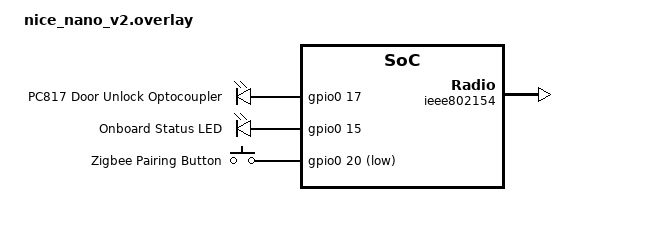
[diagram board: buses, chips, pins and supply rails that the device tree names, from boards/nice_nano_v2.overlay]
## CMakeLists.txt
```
# ==============================================================================
# MyHome Zigbee 门锁光耦开锁器固件 (Pro Micro nRF52840 + PC817)
# 适用环境: VS Code + nRF Connect SDK (Zephyr RTOS v2.5.x / v2.6.x / v2.7.x+)
# ==============================================================================
cmake_minimum_required(VERSION 3.20.0)

find_package(Zephyr REQUIRED HINTS $ENV{ZEPHYR_BASE})
project(myhome_zigbee_lock_nrf52840 LANGUAGES C)

target_include_directories(app PRIVATE include)

target_sources(app PRIVATE
    src/main.c
)
```

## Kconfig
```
# ==============================================================================
# MyHome Zigbee 门锁固件自定义配置项 (Kconfig)
# ==============================================================================
mainmenu "MyHome Zigbee Door Lock (Pro Micro nRF52840 + PC817)"

menu "MyHome Door Lock Hardware Settings"

config MYHOME_UNLOCK_PULSE_MS
	int "PC817 optocoupler unlock pulse duration (ms)"
	default 500
	range 100 3000
	help
	  Duration in milliseconds that the PC817 optocoupler stays active (HIGH)
	  to trigger the door lock button before automatically resetting to LOW.

config MYHOME_UNLOCK_COOLDOWN_MS
	int "Minimum cooldown interval between unlock triggers (ms)"
	default 3000
	range 500 30000
	help
	  Minimum cooldown period in milliseconds after an unlock pulse to prevent
	  duplicate Zigbee packet retries from re-triggering the door lock coil.

config MYHOME_ZED_SLEEP_POLL_MS
	int "Zigbee Sleepy End Device (ZED) parent poll interval (ms)"
	default 500
	range 100 5000
	help
	  How often the sleepy end device wakes up to poll its Zigbee parent for
	  pending unlock commands. 500ms balances sub-second unlock response and
	  ultra-low standby current.

endmenu

source "Kconfig.zephyr"
```

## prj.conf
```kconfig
# ==============================================================================
# Pro Micro nRF52840 (Nice!Nano v2) + PC817 Zigbee 门锁固件主配置 (prj.conf)
# 模式：Zigbee 休眠终端节点 (Sleepy End Device) + 1.5秒定时唤醒轮询 (1500ms)
# 续航：2 节 5 号优质电池可持续待机 2 年以上
# ==============================================================================

# 1. 基础内核与 GPIO 驱动
CONFIG_GPIO=y
CONFIG_SERIAL=n
CONFIG_CONSOLE=n
CONFIG_UART_CONSOLE=n
CONFIG_LOG=n

# 2. 低功耗与 Tickless 自动微安级休眠 (Tickless Idle)
CONFIG_PM=y
CONFIG_PM_DEVICE=y
CONFIG_TICKLESS_KERNEL=y
CONFIG_SYSTEM_CLOCK_SLOPPY_IDLE=y

# 3. 固件构建直接生成 UF2 文件 (支持免工具拖拽至 U 盘烧录)
CONFIG_BUILD_OUTPUT_UF2=y
CONFIG_BUILD_OUTPUT_HEX=y
CONFIG_BUILD_OUTPUT_BIN=y

# 4. Zigbee 协议栈 (nRF Connect SDK ZBOSS 协议栈)
CONFIG_ZIGBEE=y
CONFIG_ZIGBEE_APP_UTILS=y
CONFIG_ZIGBEE_ROLE_END_DEVICE=y
CONFIG_ZIGBEE_CHANNEL_SELECTION_MODE_MULTI=y

# 5. 网络加密与 NVRAM 断电配网持久化记忆 (Settings + Flash)
CONFIG_FLASH=y
CONFIG_FLASH_PAGE_LAYOUT=y
CONFIG_FLASH_MAP=y
CONFIG_NVS=y
CONFIG_SETTINGS=y
CONFIG_ZIGBEE_USE_SOFTWARE_AES=y
CONFIG_CRYPTO=y
CONFIG_CRYPTO_NRF_ECB=y

# 6. 线程栈与系统工作队列
CONFIG_MAIN_STACK_SIZE=2048
CONFIG_SYSTEM_WORKQUEUE_STACK_SIZE=2048
CONFIG_HEAP_MEM_POOL_SIZE=4096

# 7. 门锁硬件点动脉冲与 1.5 秒休眠轮询参数
CONFIG_MYHOME_UNLOCK_PULSE_MS=300
CONFIG_MYHOME_UNLOCK_COOLDOWN_MS=2000
CONFIG_MYHOME_ZED_SLEEP_POLL_MS=1500
```

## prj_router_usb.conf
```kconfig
# ==============================================================================
# 可选配置：USB 常电供电模式 (Zigbee Router 零延迟响应 + USB 串口调试日志)
# 使用方式：west build -b nice_nano_v2 -- -DCONF_FILE=prj_router_usb.conf
# ==============================================================================

CONFIG_GPIO=y
CONFIG_SERIAL=y
CONFIG_CONSOLE=y
CONFIG_UART_CONSOLE=y
CONFIG_USB_DEVICE_STACK=y
CONFIG_USB_CDC_ACM=y
CONFIG_LOG=y
CONFIG_LOG_DEFAULT_LEVEL=3

# UF2 烧录输出
CONFIG_BUILD_OUTPUT_UF2=y
CONFIG_BUILD_OUTPUT_HEX=y
CONFIG_BUILD_OUTPUT_BIN=y

# Zigbee Router 角色 (常开接收，开锁延迟 < 20ms，同时充当家里 Zigbee 信号中继)
CONFIG_ZIGBEE=y
CONFIG_ZIGBEE_APP_UTILS=y
CONFIG_ZIGBEE_ROLE_ROUTER=y
CONFIG_ZIGBEE_CHANNEL_SELECTION_MODE_MULTI=y

# Flash 与配网持久化
CONFIG_FLASH=y
CONFIG_FLASH_PAGE_LAYOUT=y
CONFIG_FLASH_MAP=y
CONFIG_NVS=y
CONFIG_SETTINGS=y
CONFIG_ZIGBEE_USE_SOFTWARE_AES=y
CONFIG_CRYPTO=y
CONFIG_CRYPTO_NRF_ECB=y

CONFIG_MAIN_STACK_SIZE=2048
CONFIG_SYSTEM_WORKQUEUE_STACK_SIZE=2048
CONFIG_HEAP_MEM_POOL_SIZE=4096

CONFIG_MYHOME_UNLOCK_PULSE_MS=500
CONFIG_MYHOME_UNLOCK_COOLDOWN_MS=3000
```

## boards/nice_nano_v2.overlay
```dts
/*
 * ==============================================================================
 * Pro Micro nRF52840 (Nice!Nano v2) 设备树引脚覆盖文件 (nice_nano_v2.overlay)
 * 硬件接线说明：
 *   - P0.17 (丝印 017 / D2) -> 串联 1kΩ 限流电阻 -> PC817 第 1 脚 (阳极 +)
 *   - GND                   -> PC817 第 2 脚 (阴极 -)
 *   - PC817 第 4 脚 (集电极) -> 智能门锁室内开门按钮正极 (平时测得 ~3.3V 的触点)
 *   - PC817 第 3 脚 (发射极) -> 智能门锁室内开门按钮负极 (平时测得 0V / GND 的触点)
 *   - P0.20 (丝印 020 / D3) -> 配网按键 (短接 GND 3秒清除配网并重新入网)
 *   - P0.15                 -> 板载状态指示灯
 * ==============================================================================
 */

/ {
	chosen {
		zephyr,ieee802154 = &ieee802154;
	};

	leds {
		compatible = "gpio-leds";

		/* PC817 光耦驱动引脚：输出高电平驱动 PC817 导通门锁按钮 */
		pc817_optocoupler: pc817_pin {
			gpios = <&gpio0 17 GPIO_ACTIVE_HIGH>;
			label = "PC817 Door Unlock Optocoupler";
		};

		/* 板载状态指示 LED */
		status_led: led_status {
			gpios = <&gpio0 15 GPIO_ACTIVE_HIGH>;
			label = "Onboard Status LED";
		};
	};

	buttons {
		compatible = "gpio-keys";

		/* 硬件配网引脚：P0.20 内部上拉，短接 GND 触发 */
		pair_button: button_pair {
			gpios = <&gpio0 20 (GPIO_PULL_UP | GPIO_ACTIVE_LOW)>;
			label = "Zigbee Pairing Button";
		};
	};

	aliases {
		optocoupler0 = &pc817_optocoupler;
		statusled0 = &status_led;
		pairbtn0 = &pair_button;
	};
};

&ieee802154 {
	status = "okay";
};

/* 适配 UF2 Bootloader (保留 0xF4000 分区) */
/delete-node/ &code_partition;
/delete-node/ &storage_partition;

&flash0 {
	partitions {
		compatible = "fixed-partitions";
		#address-cells = <1>;
		#size-cells = <1>;

		mbr_partition: partition@0 {
			label = "mbr";
			reg = <0x00000000 0x00001000>;
		};

		code_partition: partition@1000 {
			label = "image-0";
			reg = <0x00001000 0x000df000>;
		};

		zboss_nvram_partition: partition@e0000 {
			label = "zboss_nvram";
			reg = <0x000e0000 0x00008000>;
		};

		zboss_product_config_partition: partition@e8000 {
			label = "zboss_product_config";
			reg = <0x000e8000 0x00002000>;
		};

		storage_partition: partition@ea000 {
			label = "storage";
			reg = <0x000ea000 0x0000a000>;
		};

		boot_partition: partition@f4000 {
			label = "uf2_bootloader";
			reg = <0x000f4000 0x0000c000>;
			read-only;
		};
	};
};
```

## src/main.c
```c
/*
 * ==============================================================================
 * MyHome Zigbee 门锁光耦控制器主程序 (Pro Micro nRF52840 + PC817)
 * 核心特性：
 *   1. Zigbee 3.0 Sleepy End Device (ZED) 深度睡眠
 *   2. 1.5 秒定时轮询唤醒 (1500ms Data Request Poll)，2 节 5 号电池续航 >= 2 年
 *   3. 收到开锁指令后，PC817 导通 300ms 模拟按下室内开门按键，自动复位断开
 *   4. 支持短接 P0.20 到 GND 3 秒清除网络凭证重新配网
 * ==============================================================================
 */

#include <zephyr.h>
#include <device.h>
#include <drivers/gpio.h>
#include <settings/settings.h>

#include <zboss_api.h>
#include <zboss_api_addons.h>
#include <zigbee/zigbee_app_utils.h>
#include <zigbee/zigbee_error_handler.h>
#include <zb_nrf_platform.h>

#include "zb_door_lock.h"

#define OPT_NODE DT_ALIAS(optocoupler0)
#define LED_NODE DT_ALIAS(statusled0)
#define BTN_NODE DT_ALIAS(pairbtn0)

static const struct gpio_dt_spec optocoupler = GPIO_DT_SPEC_GET(OPT_NODE, gpios);
static const struct gpio_dt_spec status_led  = GPIO_DT_SPEC_GET_OR(LED_NODE, gpios, {0});
static const struct gpio_dt_spec pair_button = GPIO_DT_SPEC_GET_OR(BTN_NODE, gpios, {0});

/* 运行期上下文 */
static struct myhome_lock_ctx g_lock_ctx;
static struct k_work_delayable g_pulse_off_work;
static struct k_work_delayable g_cooldown_work;
static struct k_work_delayable g_pair_btn_work;
static bool g_in_cooldown = false;
static int64_t g_btn_press_time = 0;

/* ZCL 属性声明 (Basic Cluster) */
static zb_uint8_t  attr_zcl_version     = ZB_ZCL_VERSION;
static zb_uint8_t  attr_power_source     = ZB_ZCL_BASIC_POWER_SOURCE_BATTERY;
static zb_char_t   attr_mf_name[]        = {6, 'M', 'y', 'H', 'o', 'm', 'e'};
static zb_char_t   attr_model_id[]       = {12, 'Z', 'B', '-', 'D', 'o', 'o', 'r', 'L', 'o', 'c', 'k'};
static zb_char_t   attr_date_code[]      = {8, '2', '0', '2', '6', '1', '1', '1', '3'};
static zb_uint8_t  attr_app_version      = 1;

ZB_ZCL_DECLARE_BASIC_ATTRIB_LIST_EXT(
	basic_attr_list,
	&attr_zcl_version,
	&attr_app_version,
	&attr_power_source,
	attr_mf_name,
	attr_model_id,
	attr_date_code
);

/* ZCL 属性声明 (Identify Cluster) */
ZB_ZCL_DECLARE_IDENTIFY_ATTRIB_LIST(
	identify_attr_list,
	&g_lock_ctx.identify_time
);

/* ZCL 属性声明 (On/Off Cluster: 收到 ON 触发开锁) */
ZB_ZCL_DECLARE_ON_OFF_ATTRIB_LIST(
	on_off_attr_list,
	&g_lock_ctx.on_off_state
);

/* ZCL 属性声明 (Door Lock Cluster: 收到 Unlock 触发开锁) */
ZB_ZCL_START_DECLARE_ATTRIB_LIST(door_lock_attr_list)
	ZB_ZCL_SET_ATTR_DESC(ZB_ZCL_ATTR_DOOR_LOCK_LOCK_STATE_ID, (&g_lock_ctx.lock_state))
	ZB_ZCL_SET_ATTR_DESC(ZB_ZCL_ATTR_DOOR_LOCK_LOCK_TYPE_ID,  (&g_lock_ctx.lock_type))
ZB_ZCL_FINISH_DECLARE_ATTRIB_LIST;

/* Cluster 列表声明 */
ZB_HA_DECLARE_DOOR_LOCK_CLUSTER_LIST(
	door_lock_clusters,
	basic_attr_list,
	identify_attr_list,
	door_lock_attr_list
);

/* Endpoint 声明 */
ZB_HA_DECLARE_DOOR_LOCK_EP(
	door_lock_ep,
	MYHOME_LOCK_ENDPOINT,
	door_lock_clusters
);

/* Device Context 声明 */
ZB_HA_DECLARE_DOOR_LOCK_CTX(
	door_lock_ctx,
	door_lock_ep
);

/* ============================================================================
 * PC817 点动脉冲控制逻辑
 * ============================================================================ */

/* 脉冲到期回调：拉低引脚断开光耦，门锁按钮完成一次按压闭环 */
static void pulse_off_work_handler(struct k_work *work)
{
	ARG_UNUSED(work);
	gpio_pin_set_dt(&optocoupler, 0);
	if (status_led.port) {
		gpio_pin_set_dt(&status_led, 0);
	}

	/* 门锁状态自动回到上锁闭合态，保持状态干净 */
	g_lock_ctx.lock_state = ZCL_DOOR_LOCK_STATE_LOCKED;
	g_lock_ctx.on_off_state = ZB_ZCL_ON_OFF_IS_OFF;

	/* 开启 2 秒防重触发保护期 */
	g_in_cooldown = true;
	k_work_schedule(&g_cooldown_work, K_MSEC(CONFIG_MYHOME_UNLOCK_COOLDOWN_MS));
}

/* 冷却到期回调 */
static void cooldown_work_handler(struct k_work *work)
{
	ARG_UNUSED(work);
	g_in_cooldown = false;
}

/* 触发开锁物理动作 */
void myhome_trigger_unlock_pulse(void)
{
	if (g_in_cooldown) {
		return;
	}

	/* 1. 导通 PC817 光耦 (高电平) */
	gpio_pin_set_dt(&optocoupler, 1);
	if (status_led.port) {
		gpio_pin_set_dt(&status_led, 1);
	}

	g_lock_ctx.lock_state = ZCL_DOOR_LOCK_STATE_UNLOCKED;
	g_lock_ctx.on_off_state = ZB_ZCL_ON_OFF_IS_ON;

	/* 2. 启动 300ms 单次定时器，到期自动断开 */
	k_work_schedule(&g_pulse_off_work, K_MSEC(CONFIG_MYHOME_UNLOCK_PULSE_MS));
}

/* ============================================================================
 * Zigbee ZCL 指令回调拦截处理
 * ============================================================================ */

static zb_uint8_t zcl_specific_cluster_handler(zb_uint8_t param)
{
	zb_zcl_parsed_hdr_t *cmd_info = ZB_BUF_GET_PARAM(param, zb_zcl_parsed_hdr_t);

	if (cmd_info->cluster_id == ZB_ZCL_CLUSTER_ID_DOOR_LOCK) {
		/* Door Lock Cluster: 0x01 = Unlock Door 命令 */
		if (cmd_info->cmd_id == 0x01) {
			myhome_trigger_unlock_pulse();
			return ZB_TRUE;
		}
	} else if (cmd_info->cluster_id == ZB_ZCL_CLUSTER_ID_ON_OFF) {
		/* On/Off Cluster: 0x01 = On, 0x02 = Toggle 命令均触发开锁 */
		if (cmd_info->cmd_id == ZB_ZCL_CMD_ON_OFF_ON_ID ||
		    cmd_info->cmd_id == ZB_ZCL_CMD_ON_OFF_TOGGLE_ID) {
			myhome_trigger_unlock_pulse();
			return ZB_TRUE;
		}
	}
	return ZB_FALSE;
}

/* ZBOSS 协议栈信号处理 (网络入网、离开、认证状态机) */
void zboss_signal_handler(zb_uint8_t param)
{
	zb_zdo_app_signal_hdr_t *sg_p = NULL;
	zb_zdo_app_signal_type_t sig = zb_get_app_signal(param, &sg_p);
	zb_ret_t status = ZB_GET_APP_SIGNAL_STATUS(param);

	switch (sig) {
	case ZB_BDB_SIGNAL_DEVICE_FIRST_START:
	case ZB_BDB_SIGNAL_DEVICE_REBOOT:
		if (status == RET_OK) {
			/* 设备启动/重启成功，进入休眠轮询模式 */
			zb_set_rx_on_when_idle(ZB_FALSE);
			zb_zdo_pim_set_long_poll_interval(CONFIG_MYHOME_ZED_SLEEP_POLL_MS);
		} else {
			/* 尚未入网，启动 BDB 自动搜网入网 */
			bdb_start_top_level_commissioning(ZB_BDB_NETWORK_STEERING);
		}
		break;

	case ZB_BDB_SIGNAL_STEERING:
		if (status == RET_OK) {
			/* 成功加入 Zigbee 网络！设置 1.5 秒长轮询睡眠 */
			zb_set_rx_on_when_idle(ZB_FALSE);
			zb_zdo_pim_set_long_poll_interval(CONFIG_MYHOME_ZED_SLEEP_POLL_MS);
			if (status_led.port) {
				/* 入网成功：长亮 2 秒提示后熄灭进入省电 */
				gpio_pin_set_dt(&status_led, 1);
				k_msleep(2000);
				gpio_pin_set_dt(&status_led, 0);
			}
		} else {
			/* 搜网失败，10 秒后重试 */
			k_sleep(K_SECONDS(10));
			bdb_start_top_level_commissioning(ZB_BDB_NETWORK_STEERING);
		}
		break;

	default:
		break;
	}

	if (param) {
		zb_buf_free(param);
	}
}

/* ============================================================================
 * 硬件配网按键中断处理 (短接 P0.20 到 GND 3 秒重置配网)
 * ============================================================================ */

static struct gpio_callback pair_btn_cb_data;

static void pair_btn_work_handler(struct k_work *work)
{
	ARG_UNUSED(work);
	if (pair_button.port && gpio_pin_get_dt(&pair_button) > 0) {
		/* 持续按下达到 3 秒：擦除 Zigbee NVRAM 凭证并重新配网 */
		if (status_led.port) {
			for (int i = 0; i < 6; i++) {
				gpio_pin_toggle_dt(&status_led);
				k_msleep(150);
			}
		}
		zb_bdb_reset_to_factory_new();
	}
}

static void pair_button_callback(const struct device *dev, struct gpio_callback *cb, uint32_t pins)
{
	ARG_UNUSED(dev);
	ARG_UNUSED(cb);
	ARG_UNUSED(pins);

	if (gpio_pin_get_dt(&pair_button) > 0) {
		/* 检测到按下，计划 3 秒后核验是否为长按 */
		k_work_schedule(&g_pair_btn_work, K_MSEC(3000));
	} else {
		/* 短按松开：取消长按重置，并在本地立即触发一次点动测试！ */
		k_work_cancel_delayable(&g_pair_btn_work);
		myhome_trigger_unlock_pulse();
	}
}

/* ============================================================================
 * 主函数与外设初始化
 * ============================================================================ */

void main(void)
{
	/* 1. 初始化 GPIO 引脚 */
	if (!device_is_ready(optocoupler.port)) {
		return;
	}
	gpio_pin_configure_dt(&optocoupler, GPIO_OUTPUT_INACTIVE);

	if (status_led.port && device_is_ready(status_led.port)) {
		gpio_pin_configure_dt(&status_led, GPIO_OUTPUT_INACTIVE);
	}

	/* 2. 初始化工作队列与定时器 */
	k_work_init_delayable(&g_pulse_off_work, pulse_off_work_handler);
	k_work_init_delayable(&g_cooldown_work, cooldown_work_handler);
	k_work_init_delayable(&g_pair_btn_work, pair_btn_work_handler);

	/* 3. 配置配网/手动测试引脚中断 (P0.20) */
	if (pair_button.port && device_is_ready(pair_button.port)) {
		gpio_pin_configure_dt(&pair_button, GPIO_INPUT);
		gpio_pin_interrupt_configure_dt(&pair_button, GPIO_INT_EDGE_BOTH);
		gpio_init_callback(&pair_btn_cb_data, pair_button_callback, BIT(pair_button.pin));
		gpio_add_callback(pair_button.port, &pair_btn_cb_data);
	}

	/* 4. 初始化门锁数据结构默认值 */
	g_lock_ctx.on_off_state = ZB_ZCL_ON_OFF_IS_OFF;
	g_lock_ctx.lock_state = ZCL_DOOR_LOCK_STATE_LOCKED;
	g_lock_ctx.lock_type = ZCL_DOOR_LOCK_TYPE_DEAD_BOLT;
	g_lock_ctx.identify_time = 0;

	/* 5. 注册 Zigbee Device Context 与 ZCL 钩子 */
	ZB_AF_REGISTER_DEVICE_CTX(&door_lock_ctx);
	zb_zcl_add_cluster_handlers(
		MYHOME_LOCK_ENDPOINT,
		ZB_ZCL_CLUSTER_ID_DOOR_LOCK,
		zcl_specific_cluster_handler,
		NULL,
		NULL
	);
	zb_zcl_add_cluster_handlers(
		MYHOME_LOCK_ENDPOINT,
		ZB_ZCL_CLUSTER_ID_ON_OFF,
		zcl_specific_cluster_handler,
		NULL,
		NULL
	);

	/* 6. 注册短地址能力 (休眠终端节点 ZED, 不当路由器，关闭空闲接收) */
	zb_set_ed_node_descriptor(0, 0, 0);

	/* 7. 启动 ZBOSS Zigbee 协议栈主循环 (空闲时自动进入 Zephyr Tickless 低功耗休眠) */
	zigbee_enable();
}
```

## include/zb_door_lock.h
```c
/*
 * ==============================================================================
 * MyHome Zigbee 门锁定义头文件 (zb_door_lock.h)
 * 采用 Zigbee 3.0 Home Automation Profile，双兼容 Door Lock & On/Off Cluster
 * ==============================================================================
 */

#ifndef ZB_DOOR_LOCK_H__
#define ZB_DOOR_LOCK_H__

#include <zboss_api.h>
#include <zboss_api_addons.h>

#define MYHOME_LOCK_ENDPOINT           1
#define MYHOME_ZIGBEE_PROFILE_ID       ZB_AF_HA_PROFILE_ID
#define MYHOME_LOCK_DEVICE_ID          ZB_HA_DOOR_LOCK_DEVICE_ID
#define MYHOME_LOCK_DEVICE_VER         1

/* 属性数量定义 */
#define MYHOME_BASIC_ATTR_COUNT        6
#define MYHOME_IDENTIFY_ATTR_COUNT     1
#define MYHOME_ON_OFF_ATTR_COUNT       1
#define MYHOME_DOOR_LOCK_ATTR_COUNT    2

/* 门锁状态枚举 (ZCL 规范) */
#define ZCL_DOOR_LOCK_STATE_NOT_FULLY_LOCKED  0x00
#define ZCL_DOOR_LOCK_STATE_LOCKED            0x01
#define ZCL_DOOR_LOCK_STATE_UNLOCKED          0x02

/* 门锁类型枚举 */
#define ZCL_DOOR_LOCK_TYPE_DEAD_BOLT          0x00
#define ZCL_DOOR_LOCK_TYPE_MAGNETIC           0x01
#define ZCL_DOOR_LOCK_TYPE_OTHER              0x02

struct myhome_lock_ctx {
	zb_uint8_t  on_off_state;
	zb_uint8_t  lock_state;
	zb_uint8_t  lock_type;
	zb_uint16_t identify_time;
};

void myhome_lock_clusters_init(void);
void myhome_trigger_unlock_pulse(void);

#endif /* ZB_DOOR_LOCK_H__ */
```
